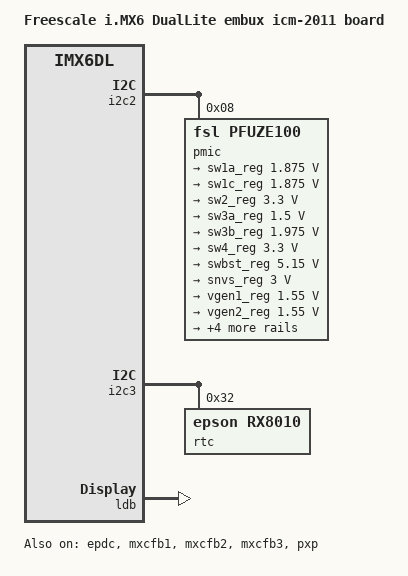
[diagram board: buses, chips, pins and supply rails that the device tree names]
/*
 * Copyright (C) 2013-2014 Freescale Semiconductor, Inc.
 *
 * This program is free software; you can redistribute it and/or modify
 * it under the terms of the GNU General Public License version 2 as
 * published by the Free Software Foundation.
 */

/dts-v1/;

#include "imx6dl-embux.dtsi"
#include "imx6dl-embux-base-ldb.dtsi"
#include "imx6dl-embux-icm2011.dtsi"

/ {
	model = "Freescale i.MX6 DualLite embux icm-2011 board";
	compatible = "fsl,imx6dl-sabresd", "fsl,imx6dl";
};

&i2c2 {
	pmic: pfuze100@08 {
		compatible = "fsl,pfuze100";
		reg = <0x08>;

		regulators {
			sw1a_reg: sw1ab {
				regulator-min-microvolt = <1875000>;
				regulator-max-microvolt = <1875000>;
				regulator-boot-on;
				regulator-always-on;
				regulator-ramp-delay = <6250>;
			};

			sw1c_reg: sw1c {
				regulator-min-microvolt = <1875000>;
				regulator-max-microvolt = <1875000>;
				regulator-boot-on;
				regulator-always-on;
				regulator-ramp-delay = <6250>;
			};

			sw2_reg: sw2 {
				regulator-min-microvolt = <3300000>;
				regulator-max-microvolt = <3300000>;
				regulator-boot-on;
				regulator-always-on;
			};

			sw3a_reg: sw3a {
				regulator-min-microvolt = <1500000>;
				regulator-max-microvolt = <1500000>;
				regulator-boot-on;
				regulator-always-on;
			};

			sw3b_reg: sw3b {
				regulator-min-microvolt = <1975000>;
				regulator-max-microvolt = <1975000>;
				regulator-boot-on;
				regulator-always-on;
			};

			sw4_reg: sw4 {
				regulator-min-microvolt = <3300000>;
				regulator-max-microvolt = <3300000>;
			};

			swbst_reg: swbst {
				regulator-min-microvolt = <5150000>;
				regulator-max-microvolt = <5150000>;
			};

			snvs_reg: vsnvs {
				regulator-min-microvolt = <3000000>;
				regulator-max-microvolt = <3000000>;
				regulator-boot-on;
				regulator-always-on;
			};

			vref_reg: vrefddr {
				regulator-boot-on;
				regulator-always-on;
			};

			vgen1_reg: vgen1 {
				regulator-min-microvolt = <1550000>;
				regulator-max-microvolt = <1550000>;
			};

			vgen2_reg: vgen2 {
				regulator-min-microvolt = <1550000>;
				regulator-max-microvolt = <1550000>;
			};

			vgen3_reg: vgen3 {
				regulator-min-microvolt = <3300000>;
				regulator-max-microvolt = <3300000>;
			};

			vgen4_reg: vgen4 {
				regulator-min-microvolt = <3300000>;
				regulator-max-microvolt = <3300000>;
				regulator-always-on;
			};

			vgen5_reg: vgen5 {
				regulator-min-microvolt = <3300000>;
				regulator-max-microvolt = <3300000>;
				regulator-always-on;
			};

			vgen6_reg: vgen6 {
				regulator-min-microvolt = <3300000>;
				regulator-max-microvolt = <3300000>;
				regulator-always-on;
			};
		};
	};
};

&i2c3 {
	rtc: rx8010@32 {
		compatible = "epson,rx8010";
		reg = <0x32>;
		//interrupt-parent = <&gpio2>, <&gpio4>;
		//interrupts = <17>, <19>;
		//rx8010-irq_1 = <&gpio2 17 0>;	
		//rx8010-irq_2 = <&gpio4 19 0>;		
	};
};

&battery {
	offset-charger = <1485>;
	offset-discharger = <1464>;
	offset-usb-charger = <1285>;
};

//&i2c3 {
//	max17135@48 {
//		compatible = "maxim,max17135";
//		reg = <0x48>;
//		vneg_pwrup = <1>;
//		gvee_pwrup = <1>;
//		vpos_pwrup = <2>;
//		gvdd_pwrup = <1>;
//		gvdd_pwrdn = <1>;
//		vpos_pwrdn = <2>;
//		gvee_pwrdn = <1>;
//		vneg_pwrdn = <1>;
//		SENSOR-supply = <&reg_sensor>;
//		gpio_pmic_pwrgood = <&gpio2 21 0>;
//		gpio_pmic_vcom_ctrl = <&gpio3 17 0>;
//		gpio_pmic_wakeup = <&gpio3 20 0>;
//		gpio_pmic_v3p3 = <&gpio2 20 0>;
//		gpio_pmic_intr = <&gpio2 25 0>;
//    
//		regulators {
//			DISPLAY_reg: DISPLAY {
//				regulator-name = "DISPLAY";
//			};
//    
//			GVDD_reg: GVDD {
//				/* 20v */
//				regulator-name = "GVDD";
//			};
//    
//			GVEE_reg: GVEE {
//				/* -22v */
//				regulator-name = "GVEE";
//			};
//    
//			HVINN_reg: HVINN {
//				/* -22v */
//				regulator-name = "HVINN";
//			};
//    
//			HVINP_reg: HVINP {
//				/* 20v */
//				regulator-name = "HVINP";
//			};
//    
//			VCOM_reg: VCOM {
//				regulator-name = "VCOM";
//				/* 2's-compliment, -4325000 */
//				regulator-min-microvolt = <0xffbe0178>;
//				/* 2's-compliment, -500000 */
//				regulator-max-microvolt = <0xfff85ee0>;
//			};
//    
//			VNEG_reg: VNEG {
//				/* -15v */
//				regulator-name = "VNEG";
//			};
//    
//			VPOS_reg: VPOS {
//				/* 15v */
//				regulator-name = "VPOS";
//			};
//    
//			V3P3_reg: V3P3 {
//				regulator-name = "V3P3";
//			};
//		};
//	};
//};

//&gpio1 {
//	pinctrl-names = "default";
//	pinctrl-0 = <&pinctrl_gpio1_ebx_ea2>;	
//	status = "okay";
//};
//
//&gpio2 {
//	pinctrl-names = "default";
//	pinctrl-0 = <&pinctrl_gpio2_ebx_ea2>;	
//	status = "okay";
//};
//
//&gpio3 {
//	pinctrl-names = "default";
//	pinctrl-0 = <&pinctrl_gpio3_ebx_ea2>;	
//	status = "okay";
//};
//
//&gpio4 {
//	pinctrl-names = "default";
//	pinctrl-0 = <&pinctrl_gpio4_ebx_ea2>;	
//	status = "okay";
//};
//
//&gpio5 {
//	pinctrl-names = "default";
//	pinctrl-0 = <&pinctrl_gpio5_ebx_ea2>;	
//	status = "okay";
//};
//
//&gpio6 {
//	pinctrl-names = "default";
//	pinctrl-0 = <&pinctrl_gpio6_ebx_ea2>;	
//	status = "okay";
//};
//
//&gpio7 {
//	pinctrl-names = "default";
//	pinctrl-0 = <&pinctrl_gpio7_ebx_ea2>;	
//	status = "okay";
//};

//&iomuxc {
//	pinctrl-names = "default";
//	pinctrl-0 = <&pinctrl_gpio1_ebx_ea2 &pinctrl_gpio2_ebx_ea2 &pinctrl_gpio3_ebx_ea2 &pinctrl_gpio4_ebx_ea2 &pinctrl_gpio5_ebx_ea2
//				&pinctrl_gpio6_ebx_ea2 &pinctrl_gpio7_ebx_ea2>;
//	//<&pinctrl_dramaddr_ebx_ea2>, 	<&pinctrl_jtag_ebx_ea2>
//	//hog {
//	//	pinctrl_hog_2: hoggrp-2 {
//	//		fsl,pins = <
//	//			/* MAX17135 */
//	//			MX6QDL_PAD_EIM_A17__GPIO2_IO21 0x80000000
//	//			MX6QDL_PAD_EIM_D17__GPIO3_IO17 0x80000000
//	//			MX6QDL_PAD_EIM_D20__GPIO3_IO20 0x80000000
//	//			MX6QDL_PAD_EIM_A18__GPIO2_IO20 0x80000000
//	//			MX6QDL_PAD_EIM_OE__GPIO2_IO25 0x80000000
//	//			/* elan touch */
//	//			MX6QDL_PAD_EIM_A20__GPIO2_IO18 0x80000000
//	//			MX6QDL_PAD_EIM_DA8__GPIO3_IO08 0x80000000
//	//			MX6QDL_PAD_EIM_D28__GPIO3_IO28 0x170b0
//	//		>;
//	//	};
//	//};
//};

&epdc {
	pinctrl-names = "default";
	pinctrl-0 = <&pinctrl_epdc_ebx_ea2>, <&pinctrl_gpio1_ebx_ea2>, <&pinctrl_gpio2_ebx_icm2011>, <&pinctrl_gpio3_ebx_ea2>,
				<&pinctrl_gpio4_ebx_icm2011>, <&pinctrl_gpio5_ebx_icm2011>, <&pinctrl_gpio6_ebx_icm2011>, <&pinctrl_gpio7_ebx_ea2>;
	V3P3-supply = <&vgen6_reg>; 
	//VCOM-supply = <&VCOM_reg>;
	//DISPLAY-supply = <&DISPLAY_reg>;
	status = "okay";
};

&ldb {
	status = "okay";
	lvds-channel@0 {
		crtc = "ipu1-di1";
	};

	lvds-channel@1 {
		crtc = "ipu1-di0";
	};
};

&mxcfb1 {
	status = "okay";
};

&mxcfb2 {
	status = "okay";
};

&mxcfb3 {
	status = "okay";
};

&pxp {
	status = "okay";
};
